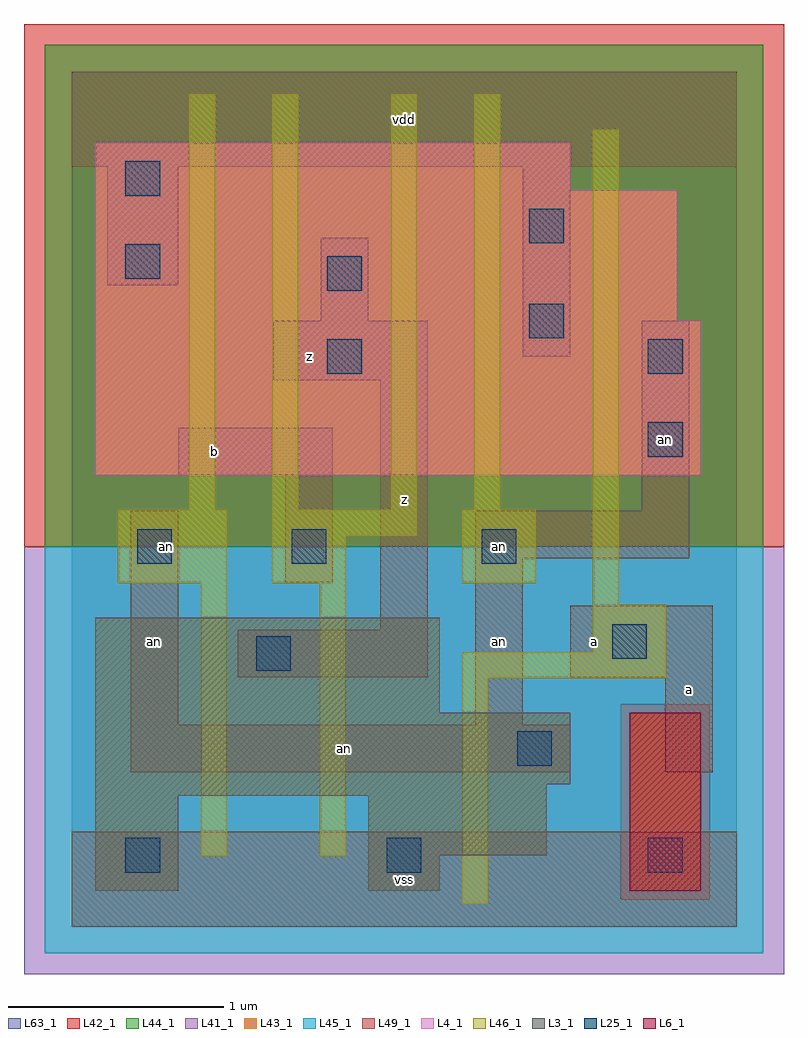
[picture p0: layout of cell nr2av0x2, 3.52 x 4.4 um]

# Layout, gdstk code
import gdstk
lib = gdstk.Library(unit=1e-6, precision=1e-09)
def R(c, l, rs):  # rectangles x0, y0, x1, y1
    for r in rs: c.add(gdstk.rectangle(r[:2], r[2:], *l))
def A(c, l, x, y, w, h, nx, ny, dx, dy):  # array of equal rectangles
    R(c, l, [(x+i*dx, y+j*dy, x+i*dx+w, y+j*dy+h) for i in range(nx) for j in range(ny)])
L3_1 = (3, 1)
L4_1 = (4, 1)
L6_1 = (6, 1)
L25_1 = (25, 1)
L41_1 = (41, 1)
L42_1 = (42, 1)
L43_1 = (43, 1)
L44_1 = (44, 1)
L45_1 = (45, 1)
L46_1 = (46, 1)
L49_1 = (49, 1)
L63_1 = (63, 1)

nr2av0x2 = lib.new_cell('nr2av0x2')
R(nr2av0x2, L3_1, [(0.11,0.165,0.495,0.605), (1.375,0.165,1.705,0.33), (1.375,0.33,2.2,0.605), (0.11,0.605,2.2,0.66), (0.11,0.66,2.31,0.99), (0.11,0.99,1.705,1.43)])
R(nr2av0x2, L4_1, [(0.11,2.09,2.915,2.805), (0.11,2.805,2.805,3.41), (0.11,3.41,2.31,3.63)])
R(nr2av0x2, L6_1, [(2.585,0.165,2.915,0.99)])
A(nr2av0x2, L25_1, 0.25, 0.25, 0.16, 0.16, 3, 1, 1.21, 0)
R(nr2av0x2, L25_1, [(2.065,0.745,2.225,0.905), (0.855,1.185,1.015,1.345), (2.505,1.24,2.665,1.4), (0.305,1.68,0.465,1.84), (1.02,1.68,1.18,1.84), (1.9,1.68,2.06,1.84), (2.67,2.175,2.83,2.335), (1.185,2.56,1.345,2.72), (2.67,2.56,2.83,2.72), (2.12,2.725,2.28,2.885), (1.185,2.945,1.345,3.105), (0.25,3,0.41,3.16), (2.12,3.165,2.28,3.325), (0.25,3.385,0.41,3.545)])
R(nr2av0x2, L41_1, [(-0.22,-0.22,3.3,1.76)])
R(nr2av0x2, L42_1, [(-0.22,1.76,3.3,4.18)])
R(nr2av0x2, L43_1, [(0.11,0.165,0.495,0.605), (1.375,0.165,1.705,0.33), (2.585,0.165,2.915,0.99), (1.375,0.33,2.2,0.605), (0.11,0.605,2.2,0.66), (0.11,0.66,2.31,0.99), (0.11,0.99,1.705,1.43), (0.11,2.09,2.915,2.805), (0.11,2.805,2.805,3.41), (0.11,3.41,2.31,3.63)])
R(nr2av0x2, L44_1, [(2.545,0.125,2.955,1.03), (-0.125,1.76,3.205,4.085)])
R(nr2av0x2, L45_1, [(-0.125,-0.125,3.205,0.125), (-0.125,0.125,2.545,1.03), (2.955,0.125,3.205,1.03), (-0.125,1.03,3.205,1.76)])
R(nr2av0x2, L46_1, [(1.81,0.105,1.93,1.15), (0.6,0.325,0.72,1.59), (1.15,0.325,1.27,1.59), (1.81,1.15,2.755,1.27), (2.415,1.27,2.755,1.49), (2.415,1.49,2.535,3.69), (0.215,1.59,0.72,1.93), (0.93,1.59,1.27,1.81), (1.81,1.59,2.15,1.93), (0.93,1.81,1.6,1.93), (0.545,1.93,0.665,3.855), (0.93,1.93,1.05,3.855), (1.48,1.93,1.6,3.855), (1.865,1.93,1.985,3.855)])
R(nr2av0x2, L49_1, [(0,0,3.08,0.44), (0.275,0.715,2.31,0.935), (2.75,0.715,2.97,1.155), (0.275,0.935,0.495,1.925), (1.87,0.935,2.09,1.705), (0.77,1.155,1.65,1.375), (2.31,1.155,2.97,1.485), (1.43,1.375,1.65,2.53), (0.99,1.595,1.21,2.09), (1.87,1.705,2.86,1.925), (2.64,1.925,2.86,2.805), (0.495,2.09,1.21,2.31), (0.935,2.53,1.65,2.805), (2.09,2.64,2.31,3.52), (1.155,2.805,1.375,3.19), (0.165,2.97,0.495,3.52), (0,3.52,3.08,3.96)])
R(nr2av0x2, L63_1, [(0,0,3.08,3.96)])
nr2av0x2.add(gdstk.Label('an', (0.44,1.76), layer=49, texttype=1))
nr2av0x2.add(gdstk.Label('an', (1.98,1.76), layer=49, texttype=1))
nr2av0x2.add(gdstk.Label('an', (0.385,1.32), layer=49, texttype=1))
nr2av0x2.add(gdstk.Label('b', (0.66,2.2), layer=49, texttype=1))
nr2av0x2.add(gdstk.Label('z', (1.1,2.64), layer=49, texttype=1))
nr2av0x2.add(gdstk.Label('vss', (1.54,0.22), layer=49, texttype=1))
nr2av0x2.add(gdstk.Label('an', (1.265,0.825), layer=49, texttype=1))
nr2av0x2.add(gdstk.Label('an', (1.98,1.32), layer=49, texttype=1))
nr2av0x2.add(gdstk.Label('z', (1.54,1.98), layer=49, texttype=1))
nr2av0x2.add(gdstk.Label('vdd', (1.54,3.74), layer=49, texttype=1))
nr2av0x2.add(gdstk.Label('a', (2.86,1.1), layer=49, texttype=1))
nr2av0x2.add(gdstk.Label('a', (2.42,1.32), layer=49, texttype=1))
nr2av0x2.add(gdstk.Label('an', (2.75,2.255), layer=49, texttype=1))

lib.write_gds('nr2av0x2.gds')
